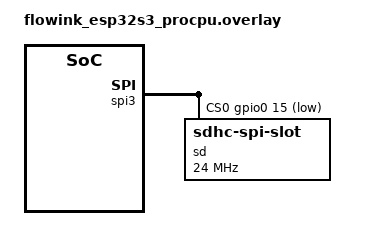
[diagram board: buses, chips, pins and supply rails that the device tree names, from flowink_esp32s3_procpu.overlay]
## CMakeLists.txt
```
# SPDX-License-Identifier: Apache-2.0

cmake_minimum_required(VERSION 3.20.0)

find_package(Zephyr REQUIRED HINTS $ENV{ZEPHYR_BASE})
find_package(Python REQUIRED COMPONENTS Interpreter)

project(flowink)

target_sources(app PRIVATE
    app/app_main.c
    app/app_carousel.c
    app/app_mode.c
    app/show_picture.c
    component/btn.c
    component/epd.c
    component/led.c
    component/nv.c
    component/pwr_manage.c
    component/tf.c
    component/net/http_server.c
    component/net/wifi_ap_dhcp.c
    server/multi_button.c
    server/svc_bmp.c
)

if(CONFIG_LED_STRIP)
    target_sources(app PRIVATE component/rgb_strip.c)
endif()

target_include_directories(app PRIVATE
    ${CMAKE_CURRENT_SOURCE_DIR}/app
    ${CMAKE_CURRENT_SOURCE_DIR}/component
    ${CMAKE_CURRENT_SOURCE_DIR}/component/net
    ${CMAKE_CURRENT_SOURCE_DIR}/server
)

target_link_libraries(app PRIVATE zephyr_interface zephyr)

zephyr_linker_sources(SECTIONS ${CMAKE_CURRENT_SOURCE_DIR}/component/net/sections-rom.ld)
zephyr_linker_section(
  NAME http_resource_desc_http_service
  KVMA RAM_REGION GROUP RODATA_REGION
)

# 固定生成目录和读取目录
set(read_dir ${CMAKE_CURRENT_SOURCE_DIR}/resources/)
set(gen_dir ${ZEPHYR_BINARY_DIR}/include/generated/)

generate_inc_file_for_target(app
    ${read_dir}/build_in.bmp
    ${gen_dir}/build_in.bmp.inc
)

# 把需要嵌入固件的网页文件名写在这里
set(WEB_FILES
    index.html
    script.js
    fx_open.js
)

# 遍历变量内所有内容，‘&’取出变量值——变量file=变量值
foreach(file ${WEB_FILES})

# 读取一个二进制文件，压缩后转为 C 静态数组，生成 .inc 文件：固件；源文件路径；输出路径；转换前先压缩为gzip
generate_inc_file_for_target(app
    ${read_dir}/http/${file}
    ${gen_dir}/${file}.gz.inc
    --gzip
)

endforeach()

generate_inc_file_for_target(app
    ${read_dir}/http/font/ZCOOLKuaiLe_subset.woff2
    ${gen_dir}/ui.woff2.inc
)

generate_inc_file_for_target(app
    ${read_dir}/http/zkk.png
    ${gen_dir}/zkk.png.inc
)
```

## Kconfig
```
# Copyright (c) 2019 Nordic Semiconductor ASA
# SPDX-License-Identifier: Apache-2.0

mainmenu "FlowInk Configuration"

config WAKEUP_TIME_SEC
	int "Wakeup time in seconds"
	default 180
	help
	  This option sets the time in seconds after which the device
	  will wake up from deep sleep. Defaults to 12 hours.

config LED_STRIP_BRIGHTNESS
	int "LED brightness"
	default 3
	range 1 255
	depends on CONFIG_LED_STRIP
	help
	  Brightness level of each LED. Defaults to a low value to make
	  it easier to distinguish colors.

config BATTERY_ALARM_THRESHOLD_MV
	int "Battery alarm threshold"
	range 0 3300
	help
	  Threshold for battery alarm.

menu "NET Configuration"

config WIFI_AP_SSID
	string "SSID of soft AP"
	help
	  SSID of the soft AP 
	  Fox example: "SOFT-AP"
	  
config WIFI_AP_PSK
	string "Pre-shared key for soft AP"
	help
	  WPA2 password used by the soft AP for client authentication.
	  For example: "PSK"

config WIFI_AP_IP_ADDRESS
	string "IP address of soft AP"
	help
	  IP address assigned to the soft AP interface.
	  For example: "192.168.4.1"

config WIFI_AP_NETMASK
	string "Netmask of soft AP"
	help
	  Subnet mask for the soft AP interface.
	  For example: "255.255.255.0"  

config HTTP_SERVER_SERVICE_PORT
	int "Port number for http service"
	default 80

endmenu

menu "EPD Configuration"

config EPD_PANEL_HEIGHT
	int "Height of the epd display screen"
	default 480

config EPD_PANEL_WIDTH
	int "Width of the epd display screen"
	default 800

config EPD_SEND_BUF_SIZE
	int "EPD send buffer size"
	default 192000
	help
	  Size of the buffer used to send data to the EPD display.

config BMP_ORIGINAL_SIZE
	int "BMP original size"
	default 1152054
	help
	  The original size of the BMP file.

endmenu

source "Kconfig.zephyr"
```

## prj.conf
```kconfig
CONFIG_SPI=y
CONFIG_LOG=y

CONFIG_INIT_STACKS=y
CONFIG_MAIN_STACK_SIZE=3072
CONFIG_SYSTEM_WORKQUEUE_STACK_SIZE=2048

CONFIG_ESP_SPIRAM=y
# 默认只有1MB
CONFIG_ESP_SPIRAM_HEAP_SIZE=3145728
CONFIG_SPIRAM_MODE_OCT=y
CONFIG_ESP32_WIFI_NET_ALLOC_SPIRAM=y
# 开了会系统崩溃
# CONFIG_ESP_WIFI_HEAP_SPIRAM=y

# ZVFS / Eventfd 文件抽象层
CONFIG_ZVFS=y
CONFIG_ZVFS_POLL_MAX=32
CONFIG_ZVFS_EVENTFD_MAX=2
CONFIG_ZVFS_EVENTFD=y
CONFIG_EVENTFD=y

# CONFIG_LED_STRIP=y
# CONFIG_LED_STRIP_LOG_LEVEL_OFF=y

CONFIG_POWEROFF=y
CONFIG_RETAINED_MEM=y

CONFIG_EVENTS=y
CONFIG_TEST_RANDOM_GENERATOR=y
CONFIG_SDHC=y
CONFIG_DISK_ACCESS=y
CONFIG_FILE_SYSTEM=y
CONFIG_FAT_FILESYSTEM_ELM=y
CONFIG_SD_LOG_LEVEL_OFF=y
# 不开启LFN的情况下，文件名长度最大为8.3（后缀名占3字符），且不支持中文
CONFIG_FS_FATFS_LFN=y
# 没有fatfs格式化的业务需求
CONFIG_FS_FATFS_MOUNT_MKFS=n

CONFIG_NETWORKING=y
CONFIG_NET_SOCKETS=y
CONFIG_NET_LOG=y
# IP 协议栈，暂不开启 ipv6
CONFIG_NET_IPV4=y
CONFIG_NET_IPV6=n
CONFIG_NET_IF_MAX_IPV4_COUNT=1
# CONFIG_NET_IF_MAX_IPV6_COUNT=2
# 协议
CONFIG_NET_TCP=y
# 网络缓冲区
CONFIG_NET_PKT_RX_COUNT=32
CONFIG_NET_PKT_TX_COUNT=32
CONFIG_NET_BUF_RX_COUNT=256
CONFIG_NET_BUF_TX_COUNT=256
CONFIG_NET_CONTEXT_NET_PKT_POOL=y
# 连接与上下文资源限制
CONFIG_NET_MAX_CONTEXTS=32
CONFIG_NET_MAX_CONN=32
CONFIG_HTTP_SERVER_MAX_CLIENTS=6
# TCP 参数调优
# Required to handle large number of consecutive connections,
# e.g. when testing with ApacheBench.
CONFIG_NET_TCP_TIME_WAIT_DELAY=0
# 网络管理层 & 事件通知
CONFIG_NET_MGMT=y
CONFIG_NET_MGMT_EVENT=y
CONFIG_NET_MGMT_EVENT_INFO=y
CONFIG_NET_MGMT_EVENT_QUEUE_SIZE=10
CONFIG_NET_MGMT_EVENT_STACK_SIZE=4096
# 二层链路
CONFIG_NET_L2_ETHERNET=y
CONFIG_NET_L2_WIFI_MGMT=y
# 网络自动初始化与静态地址配置，请注意，该功能并非用于正式配置部署，仅适用于快速取样与测试。
CONFIG_NET_CONFIG_SETTINGS=y
# 自动初始化需要开启 CONFIG_NET_CONFIG_SETTINGS， If you do not wish to do this, then disable this and call net_config_init() in your application.
CONFIG_NET_CONFIG_AUTO_INIT=n
# 连接管理
CONFIG_NET_CONNECTION_MANAGER=y
# DHCPv4 服务端（AP 分配客户端IP）
CONFIG_NET_DHCPV4_SERVER=y
# 断连后释放 ip 的触发时间
CONFIG_NET_DHCPV4_SERVER_ADDR_LEASE_TIME=120
# 给自己申请ip
# CONFIG_NET_DHCPV4=y

CONFIG_WIFI=y
CONFIG_WIFI_NM=y
CONFIG_WIFI_ESP32=y
# 只开启 AP 模式
CONFIG_WIFI_USAGE_MODE_AP=y
# AP 参数
CONFIG_WIFI_AP_SSID="FlowInk-AP"
CONFIG_WIFI_AP_PSK="hhhhhhhh"
CONFIG_WIFI_AP_IP_ADDRESS="192.168.4.1"
CONFIG_WIFI_AP_NETMASK="255.255.255.0"

CONFIG_HTTP_PARSER=y
CONFIG_HTTP_PARSER_URL=y
CONFIG_HTTP_SERVER=y
CONFIG_HTTP_SERVER_VERSION_2=n
```

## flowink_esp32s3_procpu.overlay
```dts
&spi3 {
	#address-cells = <1>;
	#size-cells = <0>;
	status = "okay";
	pinctrl-0 = <&spim3_default>;
	pinctrl-names = "default";

  /* sdhc-spi 需要软件 cs ！ */
	cs-gpios = <&gpio0 15 GPIO_ACTIVE_LOW>;

	sd: sd@0 {
		compatible = "zephyr,sdhc-spi-slot";
		reg = <0>;
		/* sd卡上下电延迟时间，让其充分稳定 */
		power-delay-ms = <2000>;
		/* SPI时钟，SD卡SPI最高推荐24MHz，不要直接上24M先从8M调试 */
		spi-max-frequency = <24000000>;

		/* 挂载到SD总线，接入到disk系统 */
		sdmmc {
			compatible = "zephyr,sdmmc-disk";
			disk-name = "SD";
		};
	};
};
```

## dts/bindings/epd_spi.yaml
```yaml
# Common fields for epd-spi(4 lines)
description: |
  Binding for the EPD (Electronic Paper Display) SPI device.

compatible: "nhf-um,epd-spi"

include: spi-device.yaml

properties:

  dc-gpios:
    type: phandle-array
    required: true
    description: |
      high when data is to be sent.

  rst-gpios:
    type: phandle-array
    required: true
    description: |
      low to reset the epd-display-ic.

  busy-gpios:
    type: phandle-array
    required: true
    description: |
      The busy GPIO should be pulled up.
```

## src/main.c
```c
#define LOG_LEVEL 4
#include <zephyr/logging/log.h>
LOG_MODULE_REGISTER(main);

#include <zephyr/kernel.h>
#include <zephyr/device.h>

int main(void)
{
    while (1) {

    }
    return 0;
}
```

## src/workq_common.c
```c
#include <zephyr/kernel.h>

#define WORK_QUEUE_STACK_SIZE 512
#define WORK_QUEUE_PRIORITY 5

K_THREAD_STACK_DEFINE(work_queue_stack, WORK_QUEUE_STACK_SIZE);

struct k_work_q work_queue;

void workq_init(void)
{
    k_work_queue_init(&work_queue);
    k_work_queue_start(&work_queue, work_queue_stack, K_THREAD_STACK_SIZEOF(work_queue_stack),
                       WORK_QUEUE_PRIORITY, NULL);
}
```
